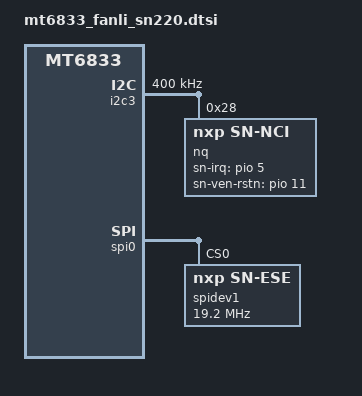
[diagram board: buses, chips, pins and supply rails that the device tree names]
/**********************************************************************************
* Copyright (c)  2008-2020  Guangdong oplus Mobile Comm Corp., Ltd
*
***********************************************************************************/
&odm {
	nfc_chipset:nfc_chipset {
		compatible = "oplus-nfc-chipset";
		chipset-22334 = "SN220P";
	};
};

&i2c3 {
       status = "okay";
       clock-frequency = <400000>;
       nq@28 {
               compatible = "nxp,sn-nci";
               reg = <0x28>;
               nxp,sn-irq = <&pio 5 0x0>;
               nxp,sn-ven-rstn = <&pio 11 0x0>;
               //nxp,sn-dwl-req = <&pio 22 0x0>;
               interrupt-parent = <&pio>;
       };
};

&spi0 {
       status = "okay";
       #address-cells = <1>;
       #size-cells = <0>;
       spidev1: p61@1 {
       compatible = "nxp,sn-ese";
       reg = <0>;
       spi-max-frequency = <19200000>;
       nxp,nfcc = "3-0028";
       };
};

//mtk case ALPS08225966:add "nfc_clk_mode" node in device tree,
//to modify nfc clk output from software control to hardware(mt6382) control
&mt6382_nfc {
    nfc_clk_mode = <1>;
};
